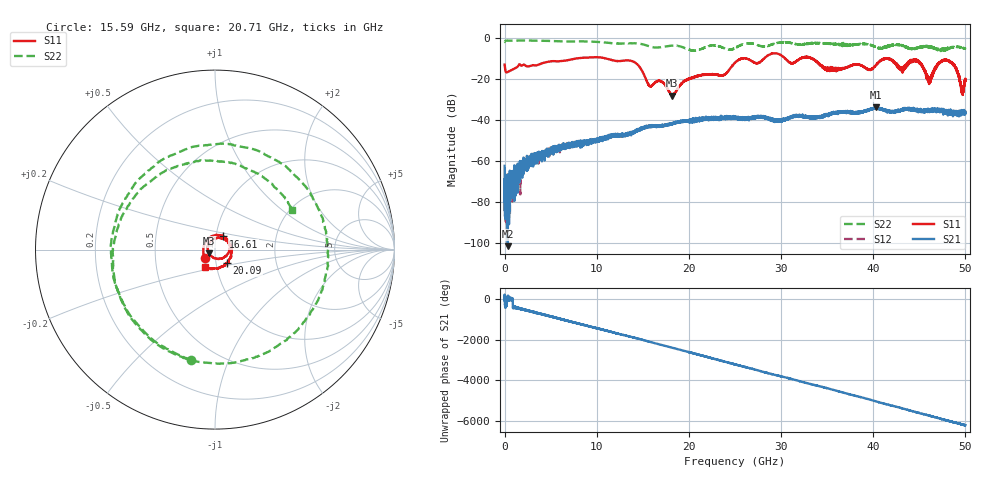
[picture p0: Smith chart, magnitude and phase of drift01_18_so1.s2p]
!Created with skrf (http://scikit-rf.org).
# Hz S RI R 50.0
!freq ReS11 ImS11 ReS21 ImS21 ReS12 ImS12 ReS22 ImS22
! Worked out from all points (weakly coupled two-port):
!   10001 points, 300 kHz to 50 GHz, reference 50 ohm
!   highest |S21| = -33.97 dB at 40.33 GHz (marker M1); lowest = -101.8 dB at 350.3 MHz (marker M2)
!   lowest |S11| = -28.3 dB at 18.16 GHz (marker M3), VSWR 1.08, Z = 46.8 - j1.97 ohm
!   |S11| at or under -10 dB: 10.87 GHz to 25.99 GHz (15.12 GHz wide, 82 % of centre); 33.27 GHz to 41.4 GHz (8.132 GHz wide, 21.8 % of centre); 41.6 GHz to end of sweep (the widest 3 of 17)
!   |S22| runs from -6.5 to -1.4 dB; largest |S21 - S12| = 0.0048
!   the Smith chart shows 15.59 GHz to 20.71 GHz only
!   S11 on the Smith chart (normalised r, x): 15.59 GHz: 0.89, -0.09; 16.61 GHz: 1.09, +0.16; 20.09 GHz: 1.13, -0.17; 20.71 GHz: 0.88, -0.17
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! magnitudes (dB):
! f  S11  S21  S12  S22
! 300 kHz  -13.1  -62.6  -80.2  -2.1
! 350.3 MHz  -16.7  -101.8  -65.5  -1.4
! 3 GHz  -13.5  -60.1  -58.1  -1.4
! 8.335 GHz  -9.9  -52.5  -50.9  -1.8
! 13.87 GHz  -11.4  -46.3  -46.3  -2.7
! 15.59 GHz  -22.7  -43.3  -43.4  -4.0
! 16.61 GHz  -21.2  -43.5  -43.1  -4.8
! 16.67 GHz  -21.1  -43.0  -43.4  -4.8
! 18.16 GHz  -28.3  -42.1  -41.9  -3.9
! 20.09 GHz  -20.1  -40.9  -41.0  -6.0
! 20.71 GHz  -18.9  -40.2  -39.9  -6.3
! 25 GHz  -12.2  -39.4  -39.0  -5.2
! 33.34 GHz  -10.1  -39.0  -38.9  -2.7
! 35.14 GHz  -15.8  -37.8  -37.5  -2.9
! 40.33 GHz  -13.3  -34.0  -34.4  -4.7
! 41.67 GHz  -10.4  -35.9  -36.0  -4.4
! 43.08 GHz  -15.3  -34.9  -35.5  -3.8
! 44.8 GHz  -11.3  -35.9  -35.4  -4.9
! 46.1 GHz  -21.2  -35.9  -36.1  -4.3
! 48.06 GHz  -11.3  -36.6  -35.6  -5.0
! 49.63 GHz  -25.1  -36.4  -37.0  -4.9
! 50 GHz  -21.0  -36.7  -36.6  -5.4
